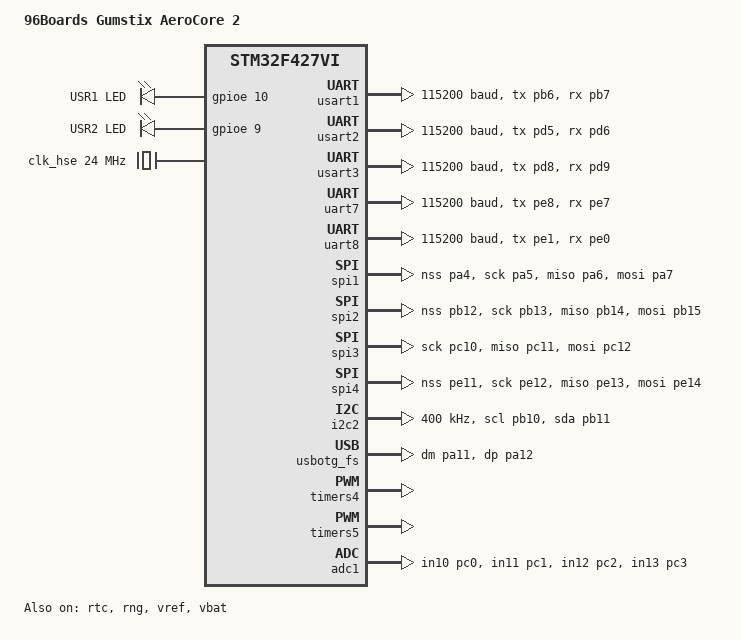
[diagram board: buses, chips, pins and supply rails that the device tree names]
/*
 * Copyright (c) 2020 Linaro Limited
 *
 * SPDX-License-Identifier: Apache-2.0
 */

/dts-v1/;

#include <st/f4/stm32f427vi.dtsi>
#include <st/f4/stm32f427v(g-i)tx-pinctrl.dtsi>

/ {
	model = "96Boards Gumstix AeroCore 2";
	compatible = "gumstix,aerocore2";

	chosen {
		zephyr,console = &uart7;
		zephyr,shell-uart = &uart7;
		zephyr,sram = &sram0;
		zephyr,flash = &flash0;
		zephyr,ccm = &ccm0;
	};

	leds {
		compatible = "gpio-leds";

		yellow_led_1: led_1 {
			gpios = <&gpioe 10 GPIO_ACTIVE_HIGH>;
			label = "USR1 LED";
		};

		blue_led_2: led_2 {
			gpios = <&gpioe 9 GPIO_ACTIVE_HIGH>;
			label = "USR2 LED";
		};
	};

	aliases {
		led0 = &yellow_led_1;
		led1 = &blue_led_2;
		volt-sensor0 = &vref;
		volt-sensor1 = &vbat;
	};
};

&clk_lsi {
	status = "okay";
};

&clk_hse {
	clock-frequency = <DT_FREQ_M(24)>;
	status = "okay";
};

&pll {
	div-m = <24>;
	mul-n = <336>;
	div-p = <2>;
	div-q = <7>;
	clocks = <&clk_hse>;
	status = "okay";
};

&rcc {
	clocks = <&pll>;
	clock-frequency = <DT_FREQ_M(168)>;
	ahb-prescaler = <1>;
	apb1-prescaler = <4>;
	apb2-prescaler = <2>;
};

&usart1 {
	pinctrl-0 = <&usart1_tx_pb6 &usart1_rx_pb7>;
	pinctrl-names = "default";
	current-speed = <115200>;
	status = "okay";
};

&usart2 {
	pinctrl-0 = <&usart2_tx_pd5 &usart2_rx_pd6>;
	pinctrl-names = "default";
	current-speed = <115200>;
	status = "okay";
};

&usart3 {
	pinctrl-0 = <&usart3_tx_pd8 &usart3_rx_pd9>;
	pinctrl-names = "default";
	current-speed = <115200>;
	status = "okay";
};

&uart7 {
	pinctrl-0 = <&uart7_tx_pe8 &uart7_rx_pe7>;
	pinctrl-names = "default";
	current-speed = <115200>;
	status = "okay";
};

&uart8 {
	pinctrl-0 = <&uart8_tx_pe1 &uart8_rx_pe0>;
	pinctrl-names = "default";
	current-speed = <115200>;
	status = "okay";
};

&spi1_nss_pa4 {
	slew-rate = "very-high-speed";
};

&spi1 {
	pinctrl-0 = <&spi1_nss_pa4 &spi1_sck_pa5
		     &spi1_miso_pa6 &spi1_mosi_pa7>;
	pinctrl-names = "default";
	status = "okay";
};

&spi2_nss_pb12 {
	slew-rate = "very-high-speed";
};

&spi2 {
	pinctrl-0 = <&spi2_nss_pb12 &spi2_sck_pb13
		     &spi2_miso_pb14 &spi2_mosi_pb15>;
	pinctrl-names = "default";
	status = "okay";
};

&spi3 {
	pinctrl-0 = <&spi3_sck_pc10 &spi3_miso_pc11 &spi3_mosi_pc12>;
	pinctrl-names = "default";
	status = "okay";
};

&spi4_nss_pe11 {
	slew-rate = "very-high-speed";
};

&spi4 {
	pinctrl-0 = <&spi4_nss_pe11 &spi4_sck_pe12
		     &spi4_miso_pe13 &spi4_mosi_pe14>;
	pinctrl-names = "default";
	status = "okay";
};

&i2c2 {
	pinctrl-0 = <&i2c2_scl_pb10 &i2c2_sda_pb11>;
	pinctrl-names = "default";
	status = "okay";
	clock-frequency = <I2C_BITRATE_FAST>;
};

zephyr_udc0: &usbotg_fs {
	pinctrl-0 = <&usb_otg_fs_dm_pa11 &usb_otg_fs_dp_pa12>;
	pinctrl-names = "default";
	status = "okay";
};

&timers4 {
	status = "okay";

	pwm4: pwm {
		status = "okay";
		pinctrl-0 = <&tim4_ch1_pd12
			     &tim4_ch2_pd13
			     &tim4_ch3_pd14
			     &tim4_ch4_pd15>;
		pinctrl-names = "default";
	};
};

&timers5 {
	status = "okay";

	pwm5: pwm {
		status = "okay";
		pinctrl-0 = <&tim5_ch1_pa0
			     &tim5_ch2_pa1
			     &tim5_ch3_pa2
			     &tim5_ch4_pa3>;
		pinctrl-names = "default";
	};
};

&adc1 {
	pinctrl-0 = <&adc1_in10_pc0 &adc1_in11_pc1
		     &adc1_in12_pc2 &adc1_in13_pc3>;
	pinctrl-names = "default";
	st,adc-clock-source = "SYNC";
	st,adc-prescaler = <2>;
	status = "okay";
};

&rtc {
	clocks = <&rcc STM32_CLOCK(APB1, 28)>,
		 <&rcc STM32_SRC_LSI RTC_SEL(2)>;
	status = "okay";
};

&rng {
	status = "okay";
};

&vref {
	status = "okay";
};

&vbat {
	status = "okay";
};
